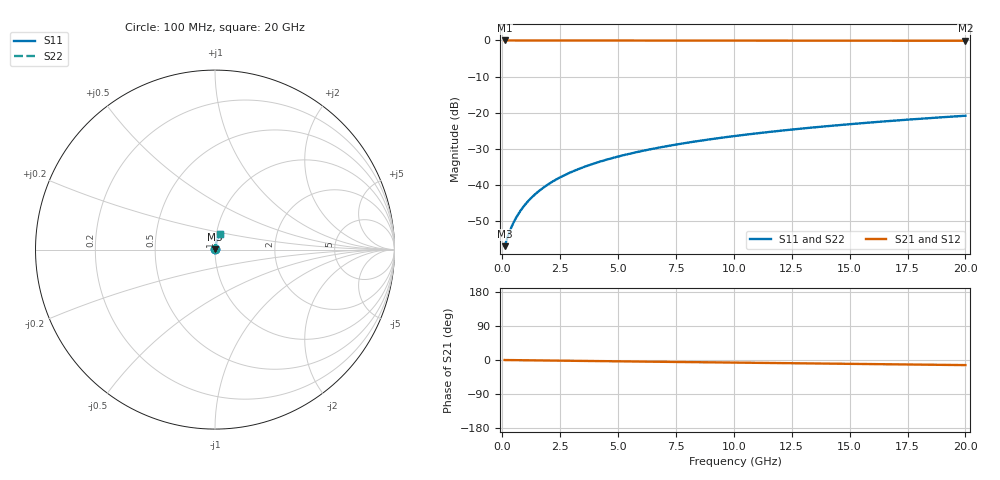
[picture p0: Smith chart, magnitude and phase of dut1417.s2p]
! Touchstone file exported from HFSS 2026.1.0
!  File:  C:/ffzhzh/LocalFiles/Ansys_Project_Files/temp_train_TMRDL_1417_1783166624_43440.aedt
!  Generated:  08:04:55 PM Jul  4, 2026
!  Design:  TMRDL
!  Project:  temp_train_TMRDL_1417_1783166624_43440
! Variables:
!  h_bsmrdl = 2um
!  h_ox = 20um
!  h_rdl = 5um
!  h_sub = 80um
!  h_tmrdl = 4.84um
!  h_tsv = 80um
!  h_via = 3um
!  l_bsmrdl = 300um
!  l_sub = 612.85um
!  l_tmrdl = 212.85um
!  m_sub = 200um
!  pitch = 23.65um
!  r_tsv = 6um
!  s_tmrdl = 10um
!  w_bsmrdl = 18um
!  w_sub = 500um
!  w_tmrdl = 13.29um
!  x_tsv_center1 = 219.495um
!  x_tsv_center2 = 537.495um
!  x_tsv_center3 = 763.635um
!  x_tsv_center4 = 1081.635um
!  x_tsv_center5 = 1307.775um
!  x_tsv_center6 = 1625.775um
# GHz S MA R 50.000000
! Terminal data exported
! Port[1] = TM_RDL1_1_T1
! Port[2] = TM_RDL1_1_T2
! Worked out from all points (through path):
!   200 points, 100 MHz to 20 GHz, reference 50 ohm
!   highest |S21| = -0.01 dB at 100 MHz (marker M1); lowest = -0.1 dB at 20 GHz (marker M2)
!   group delay of S21, straight-line fit = 1.86 ps
!   lowest |S11| = -56.9 dB at 100 MHz (marker M3), VSWR 1.00, Z = 50.1 + j0.0598 ohm
!   |S11| at or under -10 dB: start of sweep to end of sweep
!   |S22| runs from -56.9 to -20.8 dB; largest |S21 - S12| = 2.2e-15
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0.1  0.001429 24.7  0.9987 -0.1  0.9987 -0.1  0.001429 24.7
! Gamma 0 0 0 0
! Port Impedance 50 0 50 0
0.3  0.002208 49.7  0.9986 -0.2  0.9986 -0.2  0.002208 49.7
0.4  0.002645 55.9  0.9985 -0.3  0.9985 -0.3  0.002645 55.9
0.5  0.003092 60.3  0.9985 -0.4  0.9985 -0.4  0.003092 60.3
0.6  0.003547 63.7  0.9984 -0.4  0.9984 -0.4  0.003547 63.7
0.7  0.004009 66.4  0.9984 -0.5  0.9984 -0.5  0.004009 66.4
0.9  0.004953 70.3  0.9984 -0.6  0.9984 -0.6  0.004953 70.3
1.2  0.006399 74.0  0.9983 -0.8  0.9983 -0.8  0.006399 74.0
1.4  0.007376 75.5  0.9983 -1.0  0.9983 -1.0  0.007376 75.5
1.7  0.008849 77.2  0.9982 -1.2  0.9982 -1.2  0.008849 77.2
2.2  0.01131 78.7  0.998 -1.5  0.998 -1.5  0.01131 78.7
2.8  0.01425 79.6  0.9978 -2.0  0.9978 -2.0  0.01425 79.6
3.5  0.01765 80.0  0.9975 -2.4  0.9975 -2.4  0.01765 80.0
4.2  0.021 80.0  0.9972 -2.9  0.9972 -2.9  0.021 80.0
5  0.02478 79.9  0.9968 -3.5  0.9968 -3.5  0.02478 79.9
5.9  0.02897 79.6  0.9964 -4.1  0.9964 -4.1  0.02897 79.6
6.8  0.0331 79.3  0.996 -4.7  0.996 -4.7  0.0331 79.3
8.3  0.0399 78.6  0.9952 -5.7  0.9952 -5.7  0.0399 78.6
10.1  0.04794 77.8  0.9944 -6.9  0.9944 -6.9  0.04794 77.8
13.4  0.06246 76.1  0.9928 -9.1  0.9928 -9.1  0.06246 76.1
16.7  0.07677 74.4  0.9912 -11.3  0.9912 -11.3  0.07677 74.4
20  0.09087 72.5  0.9895 -13.5  0.9895 -13.5  0.09087 72.5
